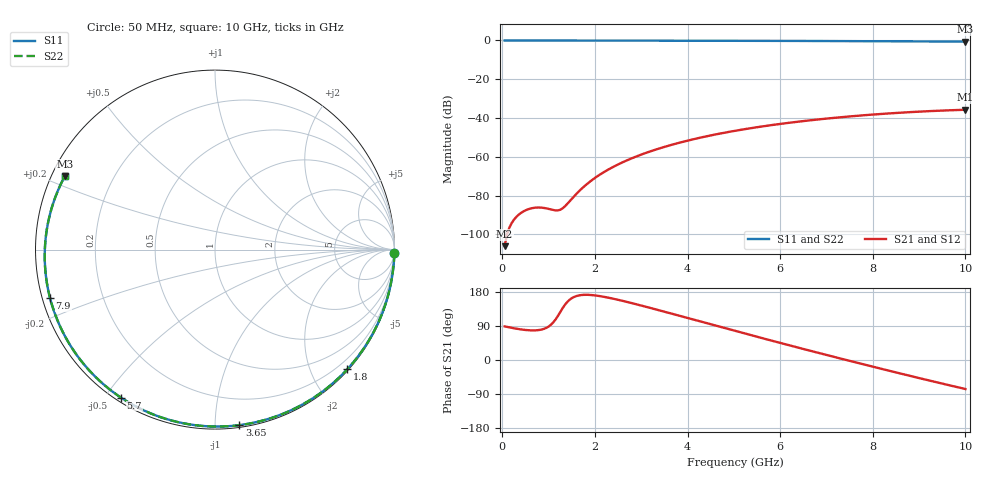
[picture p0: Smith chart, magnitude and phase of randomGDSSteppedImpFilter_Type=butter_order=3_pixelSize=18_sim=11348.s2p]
! freq	dB(S11)	phase(S11)	dB(S12)	phase(S12)
!  dB(S21)	phase(S21)	dB(S22)	phase(S22)
!S-par simulation data
#  GHz  S  DB  R 50
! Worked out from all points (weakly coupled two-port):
!   200 points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, 50 MHz to 10 GHz, reference 50 ohm
!   highest |S21| = -35.75 dB at 10 GHz (marker M1); lowest = -106.1 dB at 50 MHz (marker M2)
!   lowest |S11| = -0.6 dB at 10 GHz (marker M3), VSWR 28.16, Z = 1.87 + j11.5 ohm
!   |S11| at or under -10 dB: nowhere
!   |S22| runs from -0.6 to 0.0 dB; largest |S21 - S12| = 0
!   S11 on the Smith chart (normalised r, x): 50 MHz: 1, -99; 1.8 GHz: 0.02, -2.60; 3.65 GHz: 0.01, -1.15; 5.7 GHz: 0.02, -0.55; 7.9 GHz: 0.02, -0.14; 10 GHz: 0.04, +0.23
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0.05  -0.00 -1.2  -106.13 88.7  -106.13 88.7  -0.00 -1.2
0.45  -0.02 -10.7  -88.28 79.9  -88.28 79.9  -0.02 -10.7
0.8  -0.02 -18.9  -86.19 79.3  -86.19 79.3  -0.02 -18.9
1.55  -0.05 -36.3  -80.42 166.4  -80.42 166.4  -0.05 -36.3
1.6  -0.05 -37.5  -79.15 168.7  -79.15 168.7  -0.05 -37.5
1.75  -0.05 -40.9  -75.68 171.9  -75.68 171.9  -0.05 -40.9
1.8  -0.05 -42.0  -74.64 172.1  -74.64 172.1  -0.05 -42.0
2.1  -0.06 -48.8  -69.33 168.8  -69.33 168.8  -0.06 -48.8
2.45  -0.07 -56.5  -64.56 160.3  -64.56 160.3  -0.07 -56.5
2.9  -0.09 -66.3  -59.80 146.9  -59.80 146.9  -0.09 -66.3
3.4  -0.10 -76.9  -55.65 130.8  -55.65 130.8  -0.10 -76.9
3.65  -0.11 -82.1  -53.89 122.6  -53.89 122.6  -0.11 -82.1
4.35  -0.14 -96.3  -49.76 99.3  -49.76 99.3  -0.14 -96.3
5.05  -0.17 -110.0  -46.51 76.1  -46.51 76.1  -0.17 -110.0
5.7  -0.20 -122.4  -44.05 54.8  -44.05 54.8  -0.20 -122.4
6.7  -0.27 -141.2  -41.06 22.8  -41.06 22.8  -0.27 -141.2
7.3  -0.32 -152.4  -39.63 4.0  -39.63 4.0  -0.32 -152.4
7.9  -0.37 -163.7  -38.42 -14.6  -38.42 -14.6  -0.37 -163.7
8.35  -0.42 -172.3  -37.64 -28.3  -37.64 -28.3  -0.42 -172.3
8.8  -0.47 178.8  -36.98 -41.8  -36.98 -41.8  -0.47 178.8
9.2  -0.52 170.8  -36.49 -53.6  -36.49 -53.6  -0.52 170.8
10  -0.62 154.0  -35.75 -76.5  -35.75 -76.5  -0.62 154.0
